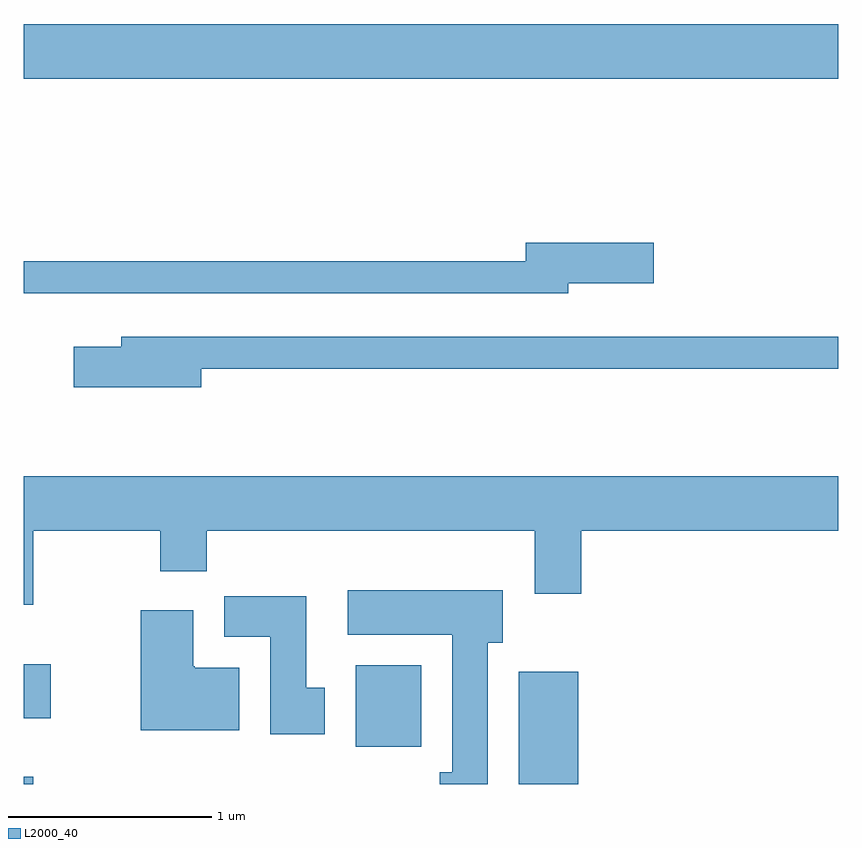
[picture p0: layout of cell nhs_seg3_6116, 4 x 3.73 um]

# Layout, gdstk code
import gdstk
lib = gdstk.Library(unit=1e-6, precision=1e-09)
def R(c, l, rs):  # rectangles x0, y0, x1, y1
    for r in rs: c.add(gdstk.rectangle(r[:2], r[2:], *l))
def P(c, l, *ps):  # polygons
    for p in ps: c.add(gdstk.Polygon(p, *l))
L2000_40 = (2000, 40)

nhs_seg3_6116 = lib.new_cell('nhs_seg3_6116')
R(nhs_seg3_6116, L2000_40, [(365.611,1115.892,365.659,1115.928), (368.041,1115.892,368.334,1116.444), (367.241,1116.076,367.564,1116.474), (365.611,1116.216,365.744,1116.479), (365.611,1119.356,369.611,1119.624)])
P(nhs_seg3_6116, L2000_40, [(368.284,1118.351),(368.704,1118.351),(368.704,1118.549),(368.076,1118.549),(368.076,1118.459),(365.611,1118.459),(365.611,1118.301),(368.284,1118.301)],
  [(366.484,1117.931),(369.611,1117.931),(369.611,1118.089),(366.091,1118.089),(366.091,1118.039),(365.856,1118.039),(365.856,1117.841),(366.484,1117.841)],
  [(365.611,1116.773),(365.659,1116.773),(365.659,1117.136),(366.281,1117.136),(366.281,1116.936),(366.509,1116.936),(366.509,1117.136),(368.121,1117.136),(368.121,1116.826),(368.349,1116.826),(368.349,1117.136),(369.611,1117.136),(369.611,1117.404),(365.611,1117.404)],
  [(367.889,1116.586),(367.964,1116.586),(367.964,1116.844),(367.201,1116.844),(367.201,1116.626),(367.716,1116.626),(367.716,1115.949),(367.653,1115.949),(367.653,1115.892),(367.889,1115.892)],
  [(367.089,1116.364),(366.999,1116.364),(366.999,1116.814),(366.596,1116.814),(366.596,1116.616),(366.821,1116.616),(366.821,1116.136),(367.089,1116.136)],
  [(366.669,1116.464),(366.45,1116.464),(366.45,1116.47),(366.444,1116.47),(366.444,1116.744),(366.186,1116.744),(366.186,1116.156),(366.669,1116.156)])

lib.write_gds('nhs_seg3_6116.gds')
